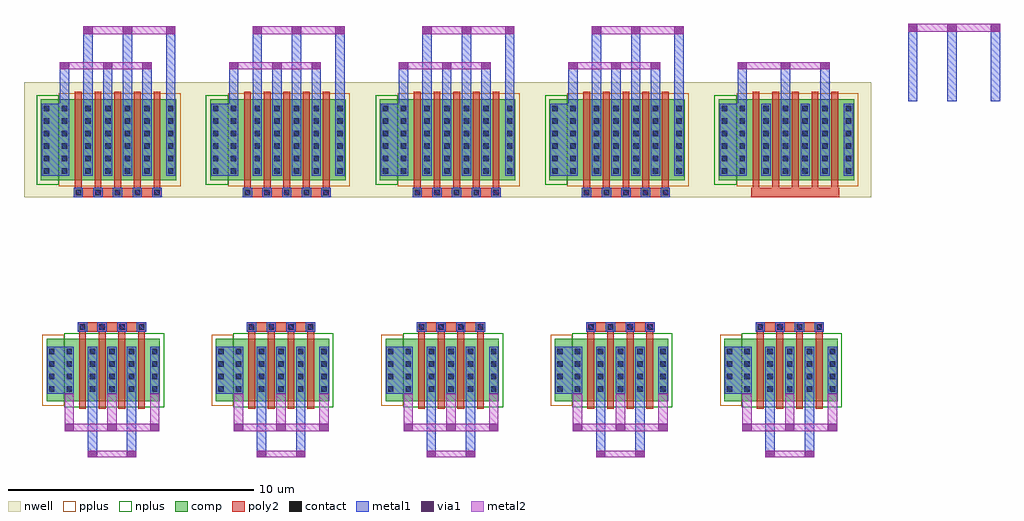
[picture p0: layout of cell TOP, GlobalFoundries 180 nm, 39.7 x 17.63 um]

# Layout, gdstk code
import gdstk
lib = gdstk.Library(unit=1e-6, precision=5e-09)
def R(c, l, rs):  # rectangles x0, y0, x1, y1
    for r in rs: c.add(gdstk.rectangle(r[:2], r[2:], *l))
def A(c, l, x, y, w, h, nx, ny, dx, dy):  # array of equal rectangles
    R(c, l, [(x+i*dx, y+j*dy, x+i*dx+w, y+j*dy+h) for i in range(nx) for j in range(ny)])
nwell = (21, 0)
comp = (22, 0)
poly2 = (30, 0)
pplus = (31, 0)
nplus = (32, 0)
contact = (33, 0)
metal1 = (34, 0)
via1 = (35, 0)
metal2 = (36, 0)

nfet_1 = lib.new_cell('nfet$1')
R(nfet_1, comp, [(-4.19,0,-3.48,2.54), (-3.48,0,-3.06,2.54), (-3.06,0,0,2.54), (0,0,0.42,2.54)])
A(nfet_1, poly2, -2.87, -0.3, 0.28, 3.14, 4, 1, 0.8, 0)
A(nfet_1, poly2, -2.91, 2.84, 0.36, 0.36, 4, 1, 0.8, 0)
R(nfet_1, pplus, [(-4.36,-0.17,-3.48,2.71)])
R(nfet_1, nplus, [(-3.48,-0.24,0.59,2.78)])
A(nfet_1, contact, -4.09, 0.395, 0.22, 0.22, 1, 4, 0, 0.51)
A(nfet_1, contact, -3.38, 0.395, 0.22, 0.22, 1, 4, 0, 0.51)
A(nfet_1, contact, -2.44, 0.395, 0.22, 0.22, 3, 4, 0.8, 0.51)
A(nfet_1, contact, 0.1, 0.395, 0.22, 0.22, 1, 4, 0, 0.51)
A(nfet_1, contact, -2.84, 2.91, 0.22, 0.22, 4, 1, 0.8, 0)
A(nfet_1, metal1, -2.52, 0.315, 0.38, 1.91, 3, 1, 0.8, 0)
A(nfet_1, metal1, -2.92, 2.83, 0.38, 0.38, 4, 1, 0.8, 0)
R(nfet_1, metal1, [(-4.17,0.315,-3.79,2.225), (-3.46,0.315,-3.08,2.225), (0.02,0.315,0.4,2.225)])

pfet = lib.new_cell('pfet')
R(pfet, nwell, [(-5.74,-0.69,1.15,3.99)])
R(pfet, comp, [(-5.05,0,-4.32,3.3), (-4.32,0,-3.86,3.3), (-3.86,0,0,3.3), (0,0,0.46,3.3)])
A(pfet, poly2, -3.72, -0.68, 0.38, 0.38, 5, 1, 0.8, 0)
A(pfet, poly2, -3.67, -0.3, 0.28, 3.9, 5, 1, 0.8, 0)
R(pfet, pplus, [(-4.32,-0.24,0.63,3.54)])
R(pfet, nplus, [(-5.22,-0.17,-4.32,3.47)])
A(pfet, contact, -3.64, -0.6, 0.22, 0.22, 5, 1, 0.8, 0)
A(pfet, contact, -4.93, 0.265, 0.22, 0.22, 1, 6, 0, 0.51)
A(pfet, contact, -4.2, 0.265, 0.22, 0.22, 1, 6, 0, 0.51)
A(pfet, contact, -3.24, 0.265, 0.22, 0.22, 4, 6, 0.8, 0.51)
A(pfet, contact, 0.12, 0.265, 0.22, 0.22, 1, 6, 0, 0.51)
A(pfet, metal1, -3.72, -0.68, 0.38, 0.38, 5, 1, 0.8, 0)
A(pfet, metal1, -3.32, 0.185, 0.38, 2.93, 4, 1, 0.8, 0)
R(pfet, metal1, [(-5.01,0.185,-4.63,3.115), (-4.28,0.185,-3.9,3.115), (0.04,0.185,0.42,3.115)])

top = lib.new_cell('TOP')
A(top, nwell, -26.01, 12.31, 2.78, 0.38, 3, 1, 6.89, 0)
A(top, nwell, -26.18, 17.79, 3.58, 0.38, 3, 1, 6.89, 0)
R(top, nwell, [(-39.8,12.31,-37.02,12.69), (-32.92,12.31,-30.14,12.69), (-14.42,17.78,-7.53,22.46), (-39.97,17.79,-36.39,18.17), (-33.09,17.79,-29.51,18.17)])
R(top, comp, [(-13.73,18.47,-13,21.77), (-13,18.47,-12.54,21.77), (-12.54,18.47,-8.68,21.77), (-8.68,18.47,-8.22,21.77)])
A(top, poly2, -26.01, 12.31, 2.78, 0.38, 3, 1, 6.89, 0)
A(top, poly2, -26.18, 17.79, 3.58, 0.38, 3, 1, 6.89, 0)
A(top, poly2, -12.4, 17.79, 0.38, 0.38, 5, 1, 0.8, 0)
A(top, poly2, -12.35, 18.17, 0.28, 3.9, 5, 1, 0.8, 0)
R(top, poly2, [(-39.8,12.31,-37.02,12.69), (-32.92,12.31,-30.14,12.69), (-39.97,17.79,-36.39,18.17), (-33.09,17.79,-29.51,18.17)])
R(top, pplus, [(-13,18.23,-8.05,22.01)])
R(top, nplus, [(-13.9,18.3,-13,21.94)])
A(top, contact, -13.61, 18.735, 0.22, 0.22, 1, 6, 0, 0.51)
A(top, contact, -12.88, 18.735, 0.22, 0.22, 1, 6, 0, 0.51)
A(top, contact, -11.92, 18.735, 0.22, 0.22, 4, 6, 0.8, 0.51)
A(top, contact, -8.56, 18.735, 0.22, 0.22, 1, 6, 0, 0.51)
A(top, metal1, -27.26, 9.795, 1.09, 1.91, 3, 1, 6.89, 0)
A(top, metal1, -27.47, 18.655, 1.11, 2.93, 3, 1, 6.89, 0)
A(top, metal1, -12, 18.655, 0.38, 2.93, 4, 1, 0.8, 0)
R(top, metal1, [(-39.4,7.21,-39.02,9.795), (-37.8,7.21,-37.42,9.795), (-32.52,7.21,-32.14,9.795), (-30.92,7.21,-30.54,9.795), (-25.61,7.21,-25.23,9.795), (-24.01,7.21,-23.63,9.795), (-18.72,7.21,-18.34,9.795), (-17.12,7.21,-16.74,9.795), (-11.83,7.21,-11.45,9.795), (-10.23,7.21,-9.85,9.795), (-41.05,9.795,-39.96,11.705), (-34.17,9.795,-33.08,11.705), (-41.26,18.655,-40.15,21.585), (-34.38,18.655,-33.27,21.585), (-13.69,18.655,-13.31,21.585), (-12.96,18.655,-12.58,21.585), (-8.64,18.655,-8.26,21.585), (-40.53,21.585,-40.15,23.275), (-39.57,21.585,-39.19,24.74), (-38.77,21.585,-38.39,23.275), (-37.975,21.585,-37.595,24.74), (-37.975,21.585,-37.595,24.74), (-37.17,21.585,-36.79,23.275), (-36.21,21.585,-35.83,24.74), (-33.65,21.585,-33.27,23.275), (-32.69,21.585,-32.31,24.74), (-31.89,21.585,-31.51,23.275), (-31.095,21.585,-30.715,24.74), (-31.095,21.585,-30.715,24.74), (-30.29,21.585,-29.91,23.275), (-29.33,21.585,-28.95,24.74), (-26.74,21.585,-26.36,23.275), (-25.78,21.585,-25.4,24.74), (-24.98,21.585,-24.6,23.275), (-24.185,21.585,-23.805,24.74), (-24.185,21.585,-23.805,24.74), (-23.38,21.585,-23,23.275), (-22.42,21.585,-22.04,24.74), (-19.85,21.585,-19.47,23.275), (-18.89,21.585,-18.51,24.74), (-18.09,21.585,-17.71,23.275), (-17.295,21.585,-16.915,24.74), (-17.295,21.585,-16.915,24.74), (-16.49,21.585,-16.11,23.275), (-15.53,21.585,-15.15,24.74), (-12.96,21.585,-12.58,23.275), (-11.2,21.585,-10.82,23.275), (-9.6,21.585,-9.22,23.275), (-6.025,21.685,-5.645,24.84), (-4.43,21.685,-4.05,24.84), (-2.665,21.685,-2.285,24.84)])
R(top, via1, [(-39.4,7.21,-39.02,7.48), (-37.8,7.21,-37.42,7.48), (-32.52,7.21,-32.14,7.48), (-30.92,7.21,-30.54,7.48), (-25.61,7.21,-25.23,7.48), (-24.01,7.21,-23.63,7.48), (-18.72,7.21,-18.34,7.48), (-17.12,7.21,-16.74,7.48), (-11.83,7.21,-11.45,7.48), (-10.23,7.21,-9.85,7.48), (-40.34,8.265,-39.96,8.58), (-40.34,8.265,-39.96,8.58), (-38.6,8.265,-38.22,8.58), (-38.6,8.265,-38.22,8.58), (-36.86,8.265,-36.48,8.58), (-36.86,8.265,-36.48,8.58), (-33.46,8.265,-33.08,8.58), (-33.46,8.265,-33.08,8.58), (-31.72,8.265,-31.34,8.58), (-31.72,8.265,-31.34,8.58), (-29.98,8.265,-29.6,8.58), (-29.98,8.265,-29.6,8.58), (-26.55,8.265,-26.17,8.58), (-26.55,8.265,-26.17,8.58), (-24.81,8.265,-24.43,8.58), (-24.81,8.265,-24.43,8.58), (-23.07,8.265,-22.69,8.58), (-23.07,8.265,-22.69,8.58), (-19.66,8.265,-19.28,8.58), (-19.66,8.265,-19.28,8.58), (-17.92,8.265,-17.54,8.58), (-17.92,8.265,-17.54,8.58), (-16.18,8.265,-15.8,8.58), (-16.18,8.265,-15.8,8.58), (-12.77,8.265,-12.39,8.58), (-12.77,8.265,-12.39,8.58), (-11.03,8.265,-10.65,8.58), (-11.03,8.265,-10.65,8.58), (-9.29,8.265,-8.91,8.58), (-9.29,8.265,-8.91,8.58), (-40.53,22.985,-40.15,23.275), (-38.77,22.985,-38.39,23.275), (-37.17,22.985,-36.79,23.275), (-37.17,22.985,-36.79,23.275), (-33.65,22.985,-33.27,23.275), (-31.89,22.985,-31.51,23.275), (-30.29,22.985,-29.91,23.275), (-30.29,22.985,-29.91,23.275), (-26.74,22.985,-26.36,23.275), (-24.98,22.985,-24.6,23.275), (-23.38,22.985,-23,23.275), (-23.38,22.985,-23,23.275), (-19.85,22.985,-19.47,23.275), (-18.09,22.985,-17.71,23.275), (-16.49,22.985,-16.11,23.275), (-16.49,22.985,-16.11,23.275), (-12.96,22.985,-12.58,23.275), (-11.2,22.985,-10.82,23.275), (-9.6,22.985,-9.22,23.275), (-9.6,22.985,-9.22,23.275), (-39.57,24.425,-39.19,24.74), (-37.975,24.425,-37.595,24.74), (-36.21,24.425,-35.83,24.74), (-32.69,24.425,-32.31,24.74), (-31.095,24.425,-30.715,24.74), (-29.33,24.425,-28.95,24.74), (-25.78,24.425,-25.4,24.74), (-24.185,24.425,-23.805,24.74), (-22.42,24.425,-22.04,24.74), (-18.89,24.425,-18.51,24.74), (-17.295,24.425,-16.915,24.74), (-15.53,24.425,-15.15,24.74), (-6.025,24.525,-5.645,24.84), (-4.43,24.525,-4.05,24.84), (-2.665,24.525,-2.285,24.84)])
A(top, metal2, -25.61, 7.21, 1.98, 0.27, 3, 1, 6.89, 0)
A(top, metal2, -26.55, 8.265, 3.86, 0.315, 3, 1, 6.89, 0)
A(top, metal2, -26.74, 22.985, 3.74, 0.29, 3, 1, 6.89, 0)
R(top, metal2, [(-39.4,7.21,-37.42,7.48), (-32.52,7.21,-30.54,7.48), (-40.34,8.265,-39.96,9.795), (-40.34,8.265,-39.96,9.795), (-40.34,8.265,-36.48,8.58), (-38.6,8.265,-38.22,9.795), (-38.6,8.265,-38.22,9.795), (-36.86,8.265,-36.48,9.795), (-36.86,8.265,-36.48,9.795), (-33.46,8.265,-33.08,9.795), (-33.46,8.265,-33.08,9.795), (-33.46,8.265,-29.6,8.58), (-31.72,8.265,-31.34,9.795), (-31.72,8.265,-31.34,9.795), (-29.98,8.265,-29.6,9.795), (-29.98,8.265,-29.6,9.795), (-26.55,8.265,-26.17,9.795), (-26.55,8.265,-26.17,9.795), (-24.81,8.265,-24.43,9.795), (-24.81,8.265,-24.43,9.795), (-23.07,8.265,-22.69,9.795), (-23.07,8.265,-22.69,9.795), (-19.66,8.265,-19.28,9.795), (-19.66,8.265,-19.28,9.795), (-17.92,8.265,-17.54,9.795), (-17.92,8.265,-17.54,9.795), (-16.18,8.265,-15.8,9.795), (-16.18,8.265,-15.8,9.795), (-12.77,8.265,-12.39,9.795), (-12.77,8.265,-12.39,9.795), (-11.03,8.265,-10.65,9.795), (-11.03,8.265,-10.65,9.795), (-9.29,8.265,-8.91,9.795), (-9.29,8.265,-8.91,9.795), (-40.53,22.985,-36.79,23.275), (-33.65,22.985,-29.91,23.275), (-39.57,24.425,-35.83,24.74), (-32.69,24.425,-28.95,24.74), (-25.78,24.425,-22.04,24.74), (-18.89,24.425,-15.15,24.74), (-6.025,24.525,-2.285,24.84)])
top.add(gdstk.Reference(nfet_1, (-16.2,9.48)))
top.add(gdstk.Reference(pfet, (-15.57,18.47)))
top.add(gdstk.Reference(nfet_1, (-36.88,9.48)))
top.add(gdstk.Reference(pfet, (-36.25,18.47)))
top.add(gdstk.Reference(nfet_1, (-9.31,9.48)))
top.add(gdstk.Reference(nfet_1, (-23.09,9.48)))
top.add(gdstk.Reference(pfet, (-22.46,18.47)))
top.add(gdstk.Reference(nfet_1, (-30,9.48)))
top.add(gdstk.Reference(pfet, (-29.37,18.47)))

lib.write_gds('TOP.gds')
